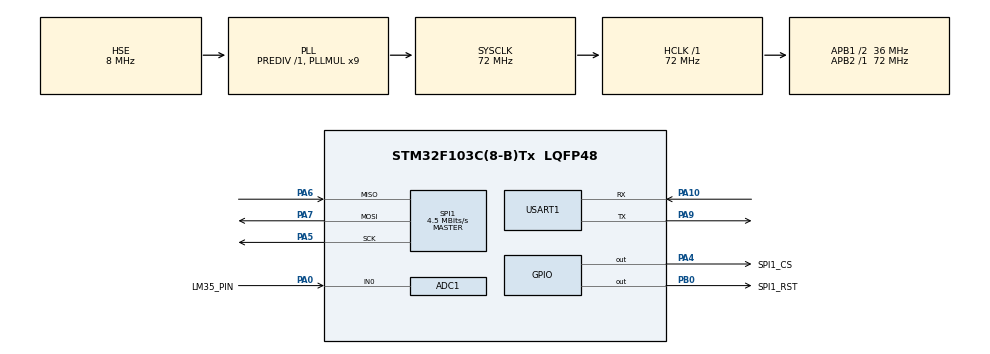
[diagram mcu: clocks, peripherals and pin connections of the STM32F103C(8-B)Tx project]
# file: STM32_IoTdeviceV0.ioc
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ADC1.Channel-1\#ChannelRegularConversion=ADC_CHANNEL_0
ADC1.NbrOfConversionFlag=1
ADC1.Rank-1\#ChannelRegularConversion=1
ADC1.SamplingTime-1\#ChannelRegularConversion=ADC_SAMPLETIME_1CYCLE_5
ADC1.master=1
Mcu.Family=STM32F1
Mcu.Name=STM32F103C(8-B)Tx
Mcu.Package=LQFP48
NVIC.PriorityGroup=NVIC_PRIORITYGROUP_4
PA0-WKUP.GPIO_Label=LM35_PIN
PA0-WKUP.Signal=ADCx_IN0
PA10.Mode=Asynchronous
PA10.Signal=USART1_RX
PA13.Mode=Serial_Wire
PA13.Signal=SYS_JTMS-SWDIO
PA14.Mode=Serial_Wire
PA14.Signal=SYS_JTCK-SWCLK
PA4.GPIO_Label=SPI1_CS
PA4.Signal=GPIO_Output
PA5.Mode=Full_Duplex_Master
PA5.Signal=SPI1_SCK
PA6.Mode=Full_Duplex_Master
PA6.Signal=SPI1_MISO
PA7.Mode=Full_Duplex_Master
PA7.Signal=SPI1_MOSI
PA9.Mode=Asynchronous
PA9.Signal=USART1_TX
PB0.GPIO_Label=SPI1_RST
PB0.Signal=GPIO_Output
PD0-OSC_IN.Mode=HSE-External-Oscillator
PD0-OSC_IN.Signal=RCC_OSC_IN
PD1-OSC_OUT.Mode=HSE-External-Oscillator
PD1-OSC_OUT.Signal=RCC_OSC_OUT
ProjectManager.HeapSize=0x200
ProjectManager.StackSize=0x400
ProjectManager.TargetToolchain=CMake
RCC.ADCPresc=RCC_ADCPCLK2_DIV6
RCC.AHBFreq_Value=72000000
RCC.APB1CLKDivider=RCC_HCLK_DIV2
RCC.APB1Freq_Value=36000000
RCC.APB1TimFreq_Value=72000000
RCC.APB2Freq_Value=72000000
RCC.APB2TimFreq_Value=72000000
RCC.HCLKFreq_Value=72000000
RCC.PLLMUL=RCC_PLL_MUL9
RCC.PLLSourceVirtual=RCC_PLLSOURCE_HSE
RCC.SYSCLKFreq_VALUE=72000000
RCC.SYSCLKSource=RCC_SYSCLKSOURCE_PLLCLK
RCC.USBFreq_Value=72000000
SH.ADCx_IN0.0=ADC1_IN0,IN0
SPI1.BaudRatePrescaler=SPI_BAUDRATEPRESCALER_16
SPI1.CalculateBaudRate=4.5 MBits/s
SPI1.Direction=SPI_DIRECTION_2LINES
SPI1.Mode=SPI_MODE_MASTER
SPI1.VirtualType=VM_MASTER
USART1.VirtualMode=VM_ASYNC
board=custom

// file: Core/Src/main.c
/* USER CODE BEGIN Header */
/**
  ******************************************************************************
  * @file           : main.c
  * @brief          : Main program body
  ******************************************************************************
  * @attention
  *
  * Copyright (c) 2025 STMicroelectronics.
  * All rights reserved.
  *
  * This software is licensed under terms that can be found in the LICENSE file
  * in the root directory of this software component.
  * If no LICENSE file comes with this software, it is provided AS-IS.
  *
  ******************************************************************************
  */
/* USER CODE END Header */
#include "main.h"
#include "adc.h"
#include "spi.h"
#include "usart.h"
#include "gpio.h"

/* USER CODE BEGIN Includes */
#include <math.h>
/* USER CODE END Includes */

/* USER CODE BEGIN PD */
// Block Select: 0x00 = Common Register
// RWB: 1 = Write, 0 = Read
// OM: 01 = VDM mode (固定地址模式)
#define W5500_CB_READ   0x00 | (0 << 2) | (0 << 0)  // 0x00
#define W5500_CB_WRITE  0x00 | (1 << 2) | (1 << 0)  // 0x04 | 0x01 = 0x05
// Socket類型定義（對應 W5500 控制暫存器的值）
#define SOCK_STREAM     0x01  // TCP
#define SOCK_DGRAM      0x02  // UDP
#define SOCK_RAW        0x03  // Raw IP
#define SOCK_MACRAW     0x04  // MAC Raw
#define SOCK_PPPOE      0x05  // PPPoE
/* USER CODE END PD */

void SystemClock_Config(void);

int main(void)
{

  /* USER CODE BEGIN 1 */
  uint8_t gateway[4] = {192, 168, 0, 1};
  uint8_t subnet[4]  = {255, 255, 255, 0};
  uint8_t ip[4]      = {192, 168, 0, 20};
  uint8_t mac[6]     = {0x00, 0x08, 0xDC, 0x12, 0x34, 0x56};
  /* USER CODE END 1 */

  /* MCU Configuration--------------------------------------------------------*/

  /* Reset of all peripherals, Initializes the Flash interface and the Systick. */
  HAL_Init();

  /* USER CODE BEGIN Init */                                                   // 等 W5500 啟動穩定

  /* USER CODE END Init */

  /* Configure the system clock */
  SystemClock_Config();

  /* Initialize all configured peripherals */
  MX_GPIO_Init();
  MX_ADC1_Init();
  MX_SPI1_Init();
  MX_USART1_UART_Init();
  /* USER CODE BEGIN 2 */
  HAL_Delay(500);
  HAL_GPIO_WritePin(GPIOA, GPIO_PIN_4, GPIO_PIN_RESET);  // RESET 腳拉低（請換成你實際接的腳位）
  HAL_Delay(100);
  HAL_GPIO_WritePin(GPIOA, GPIO_PIN_4, GPIO_PIN_SET);    // 拉高解除 RESET
  HAL_Delay(300);  // 等 W5500 穩定
  // 參數寫入 W5500 的暫存器
  W5500_WriteRegister(0x0009, W5500_CB_WRITE, mac, 6);
  W5500_WriteRegister(0x0001, W5500_CB_WRITE, gateway, 4);
  W5500_WriteRegister(0x0005, W5500_CB_WRITE, subnet, 4);
  W5500_WriteRegister(0x000F, W5500_CB_WRITE, ip, 4);
  printf("W5500 IP/GW/Subnet 設定完成\r\n");
  uint8_t check_ip[4];
  W5500_ReadRegister(0x000F, W5500_CB_READ, check_ip, 4);
  printf("W5500 IP: %d.%d.%d.%d\r\n", check_ip[0], check_ip[1], check_ip[2], check_ip[3]);
  // 開啟 UDP Socket 0，綁定 port 5000
  uint8_t sock_num = 0;
  uint16_t port = 5000;
  if (socket(sock_num, SOCK_DGRAM, port) != 0) {
    printf("socket() open failed\r\n");
  } else {
    printf("socket open on port %d\r\n", port);
  }
  uint8_t rx_buf[64];
  uint8_t sender_ip[4];
  uint16_t sender_port;
  /* USER CODE END 2 */

  /* Infinite loop */
  while (1)
  {
  HAL_ADC_Start(&hadc1);
  HAL_ADC_PollForConversion(&hadc1, HAL_MAX_DELAY);
  uint16_t raw = HAL_ADC_GetValue(&hadc1);
  float voltage = (float)raw / 4095.0 * 3.3; // 單位：V
  float temperature_C = voltage * 10.0; // LM35 每 10mV = 1°C
  printf("ADC raw: %u, voltage: %.2f V, temperature: %.2f °C\r\n", raw, voltage, temperature_C);
  HAL_Delay(500);
  //--------------------------
  uint8_t version;
  if (W5500_ReadRegister(0x0039, W5500_CB_READ, &version) == 0)
  {
    printf("W5500 VERSIONR: 0x%02X\r\n", version);
  }
  else
  {
    printf("Failed to read VERSIONR.\r\n");
  }
  HAL_Delay(500);
  //--------------------------
  W5500_ReadRegister(0x000F, W5500_CB_READ, check_ip, 4);
  printf("W5500 IP: %d.%d.%d.%d\r\n", check_ip[0], check_ip[1], check_ip[2], check_ip[3]);
  HAL_Delay(500);
  uint8_t phycfgr;
  if (W5500_ReadRegister(0x002E, W5500_CB_READ, &phycfgr) == 0)
  {
    printf("PHYCFGR: 0x%02X\r\n", phycfgr);
    if (phycfgr & 0x01)
      printf("網路已連線 (PHY Link Up)\r\n");
    else
      printf("網路未連線 (PHY Link Down)\r\n");
  }
  else
  {
    printf("無法讀取 PHYCFGR，請檢查 SPI 連接\r\n");
  }
  HAL_Delay(500);
  W5500_Test_ReadVersion();
  HAL_Delay(500);
  printf("準備呼叫 recvfrom()\r\n");
  int len = recvfrom(sock_num, rx_buf, sizeof(rx_buf), sender_ip, &sender_port);
  printf("recvfrom() 回傳長度: %d\r\n", len);

  if (len > 0) {
  printf("收到 %d bytes from %d.%d.%d.%d:%d\r\n", len, sender_ip[0], sender_ip[1], sender_ip[2], sender_ip[3], sender_port);
  printf("準備回傳 echo...\r\n");
  sendto(sock_num, rx_buf, len, sender_ip, sender_port);
  printf("傳輸 %d bytes from %d.%d.%d.%d:%d\r\n", len, sender_ip[0], sender_ip[1], sender_ip[2], sender_ip[3], sender_port);
  }

  }
}

void SystemClock_Config(void)
{
  RCC_OscInitTypeDef RCC_OscInitStruct = {0};
  RCC_ClkInitTypeDef RCC_ClkInitStruct = {0};
  RCC_PeriphCLKInitTypeDef PeriphClkInit = {0};

  /** Initializes the RCC Oscillators according to the specified parameters
  * in the RCC_OscInitTypeDef structure.
  */
  RCC_OscInitStruct.OscillatorType = RCC_OSCILLATORTYPE_HSE;
  RCC_OscInitStruct.HSEState = RCC_HSE_ON;
  RCC_OscInitStruct.HSEPredivValue = RCC_HSE_PREDIV_DIV1;
  RCC_OscInitStruct.HSIState = RCC_HSI_ON;
  RCC_OscInitStruct.PLL.PLLState = RCC_PLL_ON;
  RCC_OscInitStruct.PLL.PLLSource = RCC_PLLSOURCE_HSE;
  RCC_OscInitStruct.PLL.PLLMUL = RCC_PLL_MUL9;
  if (HAL_RCC_OscConfig(&RCC_OscInitStruct) != HAL_OK)
  {
    Error_Handler();
  }

  /** Initializes the CPU, AHB and APB buses clocks
  */
  RCC_ClkInitStruct.ClockType = RCC_CLOCKTYPE_HCLK|RCC_CLOCKTYPE_SYSCLK
                              |RCC_CLOCKTYPE_PCLK1|RCC_CLOCKTYPE_PCLK2;
  RCC_ClkInitStruct.SYSCLKSource = RCC_SYSCLKSOURCE_PLLCLK;
  RCC_ClkInitStruct.AHBCLKDivider = RCC_SYSCLK_DIV1;
  RCC_ClkInitStruct.APB1CLKDivider = RCC_HCLK_DIV2;
  RCC_ClkInitStruct.APB2CLKDivider = RCC_HCLK_DIV1;

  if (HAL_RCC_ClockConfig(&RCC_ClkInitStruct, FLASH_LATENCY_2) != HAL_OK)
  {
    Error_Handler();
  }
  PeriphClkInit.PeriphClockSelection = RCC_PERIPHCLK_ADC;
  PeriphClkInit.AdcClockSelection = RCC_ADCPCLK2_DIV6;
  if (HAL_RCCEx_PeriphCLKConfig(&PeriphClkInit) != HAL_OK)
  {
    Error_Handler();
  }
}

void Error_Handler(void)
{
  __disable_irq();
  while (1)
  {
  }
}
